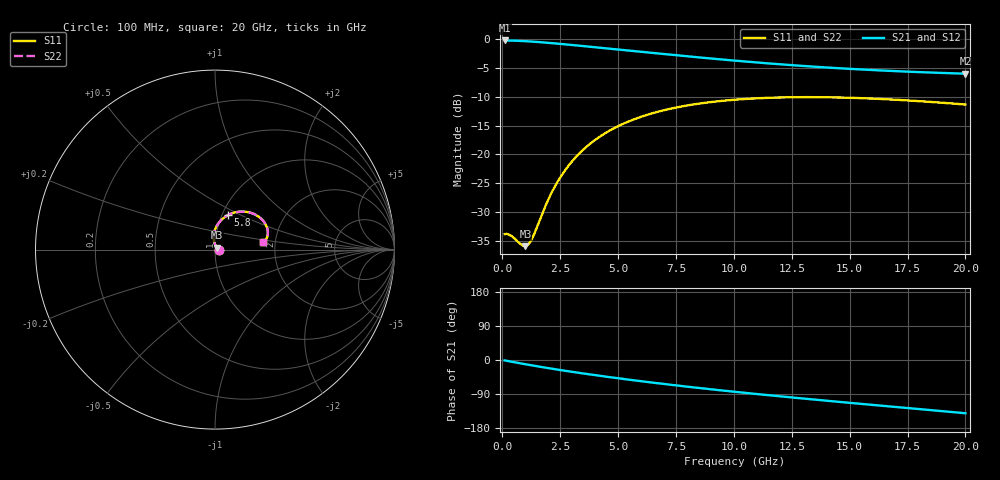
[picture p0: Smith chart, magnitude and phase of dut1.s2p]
! Created with skrf 1.9.0 (http://scikit-rf.org).
# GHz S RI R 50.0
!freq ReS11 ImS11 ReS21 ImS21 ReS12 ImS12 ReS22 ImS22
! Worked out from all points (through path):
!   200 points, 100 MHz to 20 GHz, reference 50 ohm
!   highest |S21| = -0.18 dB at 100 MHz (marker M1); lowest = -6.0 dB at 20 GHz (marker M2)
!   group delay of S21, straight-line fit = 18.7 ps
!   lowest |S11| = -35.9 dB at 1 GHz (marker M3), VSWR 1.03, Z = 51.2 + j1.12 ohm
!   |S11| at or under -10 dB: start of sweep to end of sweep
!   |S22| runs from -35.9 to -10.0 dB; largest |S21 - S12| = 2.3e-15
!   S11 on the Smith chart (normalised r, x): 100 MHz: 1.04, -0.00; 5.8 GHz: 1.07, +0.43; 20 GHz: 1.73, +0.16
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0.1  0.0203 -0.000177  0.9792 -0.0186  0.9792 -0.0186  0.0203 -0.000177
0.3  0.02 0.00184  0.976 -0.0579  0.976 -0.0579  0.02 0.00184
0.8  0.0148 0.00753  0.9581 -0.1519  0.9581 -0.1519  0.0148 0.00753
1  0.0116 0.0109  0.9471 -0.1875  0.9471 -0.1875  0.0116 0.0109
1.1  0.00997 0.0129  0.9409 -0.2049  0.9409 -0.2049  0.00997 0.0129
1.3  0.00649 0.0176  0.9271 -0.2385  0.9271 -0.2385  0.00649 0.0176
1.9  -0.00296 0.037  0.8772 -0.33  0.8772 -0.33  -0.00296 0.037
2.1  -0.00522 0.045  0.8584 -0.3574  0.8584 -0.3574  -0.00522 0.045
2.4  -0.00737 0.058  0.8288 -0.3957  0.8288 -0.3957  -0.00737 0.058
2.9  -0.00712 0.0815  0.7768 -0.4522  0.7768 -0.4522  -0.00712 0.0815
3.5  -0.000276 0.1103  0.7116 -0.5093  0.7116 -0.5093  -0.000276 0.1103
4  0.0104 0.1331  0.6562 -0.5489  0.6562 -0.5489  0.0104 0.1331
4.5  0.0248 0.1535  0.6005 -0.5819  0.6005 -0.5819  0.0248 0.1535
5.1  0.0457 0.1743  0.5341 -0.6136  0.5341 -0.6136  0.0457 0.1743
5.8  0.0732 0.1926  0.4581 -0.6409  0.4581 -0.6409  0.0732 0.1926
6.8  0.1148 0.2079  0.354 -0.6641  0.354 -0.6641  0.1148 0.2079
8.3  0.174 0.2105  0.2114 -0.6713  0.2114 -0.6713  0.174 0.2105
10.1  0.2308 0.1914  0.0647 -0.6494  0.0647 -0.6494  0.2308 0.1914
11.7  0.2654 0.1637  -0.044 -0.6126  -0.044 -0.6126  0.2654 0.1637
13.4  0.2866 0.1308  -0.1407 -0.5632  -0.1407 -0.5632  0.2866 0.1308
16.7  0.2921 0.0741  -0.2858 -0.4501  -0.2858 -0.4501  0.2921 0.0741
20  0.2685 0.0419  -0.3887 -0.3206  -0.3887 -0.3206  0.2685 0.0419
